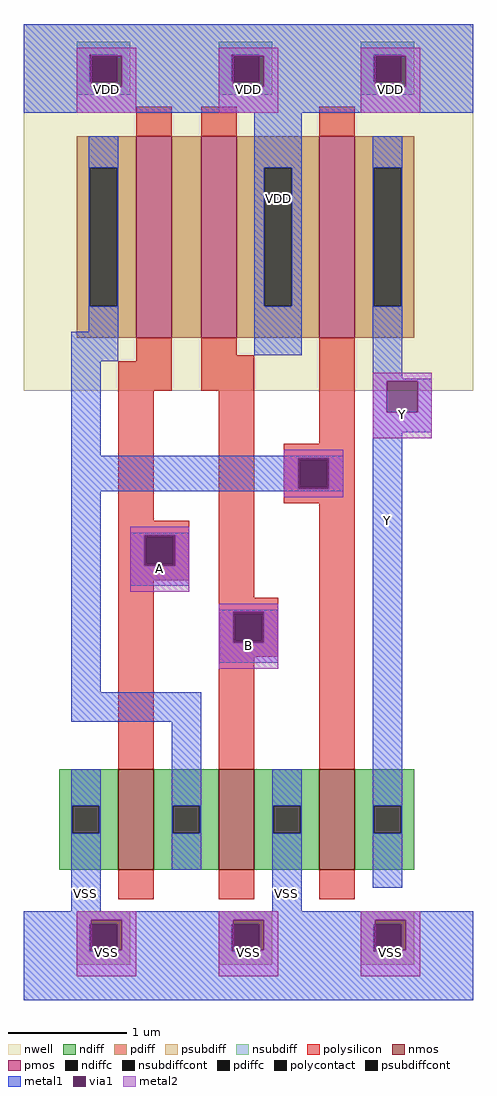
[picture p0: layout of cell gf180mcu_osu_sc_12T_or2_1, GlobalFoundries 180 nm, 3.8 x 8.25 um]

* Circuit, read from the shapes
.subckt gf180mcu_osu_sc_12T_or2_1 B A Y VDD VSS
XM1 n1 A VSS VSS nfet_03v3 w=0.85u l=0.3u
XM2 VSS B n1 VSS nfet_03v3 w=0.85u l=0.3u
XM3 Y n1 VSS VSS nfet_03v3 w=0.85u l=0.3u
XM4 n2 A n1 VDD pfet_03v3 w=1.7u l=0.3u
XM5 VDD B n2 VDD pfet_03v3 w=1.7u l=0.3u
XM6 Y n1 VDD VDD pfet_03v3 w=1.7u l=0.3u
.ends

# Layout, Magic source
magic
tech gf180mcuA
magscale 1 10
<< nwell >>
rect 0 1000 760 1620
<< nmos >>
rect 160 190 220 360
rect 330 190 390 360
rect 500 190 560 360
<< pmos >>
rect 190 1090 250 1430
rect 300 1090 360 1430
rect 500 1090 560 1430
<< ndiff >>
rect 60 298 160 360
rect 60 252 82 298
rect 128 252 160 298
rect 60 190 160 252
rect 220 298 330 360
rect 220 252 252 298
rect 298 252 330 298
rect 220 190 330 252
rect 390 298 500 360
rect 390 252 422 298
rect 468 252 500 298
rect 390 190 500 252
rect 560 298 660 360
rect 560 252 592 298
rect 638 252 660 298
rect 560 190 660 252
<< pdiff >>
rect 90 1377 190 1430
rect 90 1143 112 1377
rect 158 1143 190 1377
rect 90 1090 190 1143
rect 250 1090 300 1430
rect 360 1377 500 1430
rect 360 1143 407 1377
rect 453 1143 500 1377
rect 360 1090 500 1143
rect 560 1377 660 1430
rect 560 1143 592 1377
rect 638 1143 660 1377
rect 560 1090 660 1143
<< ndiffc >>
rect 82 252 128 298
rect 252 252 298 298
rect 422 252 468 298
rect 592 252 638 298
<< pdiffc >>
rect 112 1143 158 1377
rect 407 1143 453 1377
rect 592 1143 638 1377
<< psubdiff >>
rect 90 98 180 120
rect 90 52 112 98
rect 158 52 180 98
rect 90 30 180 52
rect 330 98 420 120
rect 330 52 352 98
rect 398 52 420 98
rect 330 30 420 52
rect 570 98 660 120
rect 570 52 592 98
rect 638 52 660 98
rect 570 30 660 52
<< nsubdiff >>
rect 90 1568 180 1590
rect 90 1522 112 1568
rect 158 1522 180 1568
rect 90 1500 180 1522
rect 330 1568 420 1590
rect 330 1522 352 1568
rect 398 1522 420 1568
rect 330 1500 420 1522
rect 570 1568 660 1590
rect 570 1522 592 1568
rect 638 1522 660 1568
rect 570 1500 660 1522
<< psubdiffcont >>
rect 112 52 158 98
rect 352 52 398 98
rect 592 52 638 98
<< nsubdiffcont >>
rect 112 1522 158 1568
rect 352 1522 398 1568
rect 592 1522 638 1568
<< polysilicon >>
rect 190 1430 250 1480
rect 300 1430 360 1480
rect 500 1430 560 1480
rect 190 1050 250 1090
rect 160 1000 250 1050
rect 300 1060 360 1090
rect 300 1000 390 1060
rect 160 780 220 1000
rect 160 753 280 780
rect 160 707 207 753
rect 253 707 280 753
rect 160 680 280 707
rect 160 360 220 680
rect 330 650 390 1000
rect 500 910 560 1090
rect 440 883 560 910
rect 440 837 467 883
rect 513 837 560 883
rect 440 810 560 837
rect 330 623 430 650
rect 330 577 357 623
rect 403 577 430 623
rect 330 550 430 577
rect 330 360 390 550
rect 500 360 560 810
rect 160 140 220 190
rect 330 140 390 190
rect 500 140 560 190
<< polycontact >>
rect 207 707 253 753
rect 467 837 513 883
rect 357 577 403 623
<< metal1 >>
rect 0 1568 760 1620
rect 0 1522 112 1568
rect 158 1566 352 1568
rect 398 1566 592 1568
rect 638 1566 760 1568
rect 166 1522 352 1566
rect 406 1522 592 1566
rect 0 1514 114 1522
rect 166 1514 354 1522
rect 406 1514 594 1522
rect 646 1514 760 1566
rect 0 1470 760 1514
rect 110 1377 160 1430
rect 110 1143 112 1377
rect 158 1143 160 1377
rect 110 1100 160 1143
rect 80 1050 160 1100
rect 390 1377 470 1470
rect 390 1143 407 1377
rect 453 1143 470 1377
rect 390 1060 470 1143
rect 590 1377 640 1430
rect 590 1143 592 1377
rect 638 1143 640 1377
rect 80 890 130 1050
rect 590 1020 640 1143
rect 590 1016 690 1020
rect 590 964 614 1016
rect 666 964 690 1016
rect 590 930 690 964
rect 80 886 540 890
rect 80 834 464 886
rect 516 834 540 886
rect 80 830 540 834
rect 80 490 130 830
rect 180 756 280 760
rect 180 704 204 756
rect 256 704 280 756
rect 180 670 280 704
rect 330 626 430 630
rect 330 574 354 626
rect 406 574 430 626
rect 330 540 430 574
rect 80 440 300 490
rect 80 298 130 360
rect 80 252 82 298
rect 128 252 130 298
rect 80 120 130 252
rect 250 298 300 440
rect 250 252 252 298
rect 298 252 300 298
rect 250 190 300 252
rect 420 298 470 360
rect 420 252 422 298
rect 468 252 470 298
rect 420 120 470 252
rect 590 298 640 930
rect 590 252 592 298
rect 638 252 640 298
rect 590 160 640 252
rect 0 106 760 120
rect 0 98 114 106
rect 166 98 354 106
rect 406 98 594 106
rect 0 52 112 98
rect 166 54 352 98
rect 406 54 592 98
rect 646 54 760 106
rect 158 52 352 54
rect 398 52 592 54
rect 638 52 760 54
rect 0 -30 760 52
<< via1 >>
rect 114 1522 158 1566
rect 158 1522 166 1566
rect 354 1522 398 1566
rect 398 1522 406 1566
rect 594 1522 638 1566
rect 638 1522 646 1566
rect 114 1514 166 1522
rect 354 1514 406 1522
rect 594 1514 646 1522
rect 614 964 666 1016
rect 464 883 516 886
rect 464 837 467 883
rect 467 837 513 883
rect 513 837 516 883
rect 464 834 516 837
rect 204 753 256 756
rect 204 707 207 753
rect 207 707 253 753
rect 253 707 256 753
rect 204 704 256 707
rect 354 623 406 626
rect 354 577 357 623
rect 357 577 403 623
rect 403 577 406 623
rect 354 574 406 577
rect 114 98 166 106
rect 354 98 406 106
rect 594 98 646 106
rect 114 54 158 98
rect 158 54 166 98
rect 354 54 398 98
rect 398 54 406 98
rect 594 54 638 98
rect 638 54 646 98
<< metal2 >>
rect 90 1566 190 1580
rect 90 1514 114 1566
rect 166 1514 190 1566
rect 90 1470 190 1514
rect 330 1566 430 1580
rect 330 1514 354 1566
rect 406 1514 430 1566
rect 330 1470 430 1514
rect 570 1566 670 1580
rect 570 1514 594 1566
rect 646 1514 670 1566
rect 570 1470 670 1514
rect 590 1016 690 1030
rect 590 964 614 1016
rect 666 964 690 1016
rect 590 920 690 964
rect 440 886 540 900
rect 440 834 464 886
rect 516 834 540 886
rect 440 820 540 834
rect 180 756 280 770
rect 180 704 204 756
rect 256 704 280 756
rect 180 660 280 704
rect 330 626 430 640
rect 330 574 354 626
rect 406 574 430 626
rect 330 530 430 574
rect 90 106 190 120
rect 90 54 114 106
rect 166 54 190 106
rect 90 10 190 54
rect 330 106 430 120
rect 330 54 354 106
rect 406 54 430 106
rect 330 10 430 54
rect 570 106 670 120
rect 570 54 594 106
rect 646 54 670 106
rect 570 10 670 54
<< labels >>
rlabel metal2 s 90 10 190 90 4 VSS
port 9 nsew ground bidirectional
rlabel metal2 s 90 1470 190 1550 4 VDD
port 8 nsew power bidirectional abutment
rlabel metal2 s 330 530 430 610 4 B
port 1 nsew signal input
rlabel metal2 s 180 660 280 740 4 A
port 2 nsew signal input
rlabel metal2 s 590 920 690 1000 4 Y
port 3 nsew signal output
rlabel metal1 s 180 670 280 730 1 A
port 2 nsew signal input
rlabel metal1 s 330 540 430 600 1 B
port 1 nsew signal input
rlabel metal2 s 330 1470 430 1550 1 VDD
port 8 nsew power bidirectional abutment
rlabel metal2 s 570 1470 670 1550 1 VDD
port 8 nsew power bidirectional abutment
rlabel metal1 s 390 1060 470 1590 1 VDD
port 8 nsew power bidirectional abutment
rlabel metal1 s 0 1470 760 1590 1 VDD
port 8 nsew power bidirectional abutment
rlabel metal2 s 330 10 430 90 1 VSS
port 9 nsew ground bidirectional
rlabel metal2 s 570 10 670 90 1 VSS
port 9 nsew ground bidirectional
rlabel metal1 s 80 -30 130 330 1 VSS
port 9 nsew ground bidirectional
rlabel metal1 s 420 -30 470 330 1 VSS
port 9 nsew ground bidirectional
rlabel metal1 s 0 -30 760 90 1 VSS
port 9 nsew ground bidirectional
rlabel metal1 s 590 160 640 1400 1 Y
port 3 nsew signal output
rlabel metal1 s 590 930 690 990 1 Y
port 3 nsew signal output
<< properties >>
string FIXED_BBOX 0 -30 760 1590
string GDS_END 425518
string GDS_FILE $PDKPATH/libs.ref/gf180mcu_osu_sc_12T/gds/gf180mcu_osu_sc_12T.gds
string GDS_START 419176
string LEFclass CORE
string LEFsite GF018hv5v_mcu_sc7
string LEFsymmetry X Y
<< end >>
